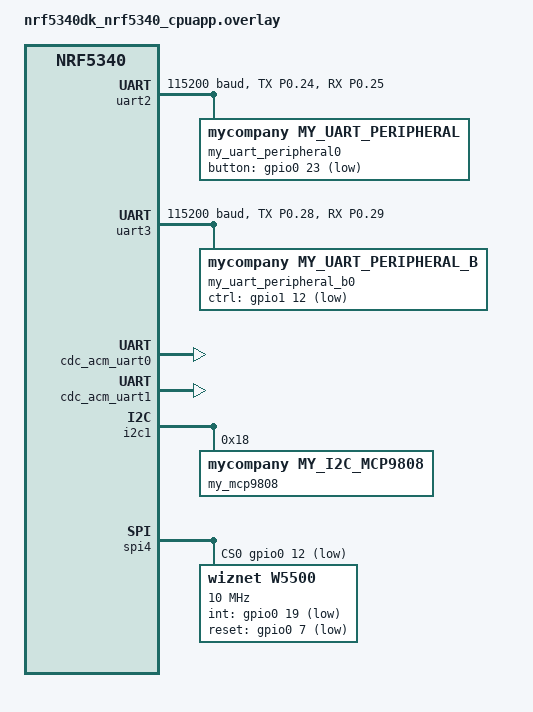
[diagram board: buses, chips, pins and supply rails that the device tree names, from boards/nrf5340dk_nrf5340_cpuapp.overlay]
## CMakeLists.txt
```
# SPDX-License-Identifier: Apache-2.0

cmake_minimum_required(VERSION 3.20.0)

find_package(Zephyr REQUIRED HINTS $ENV{ZEPHYR_BASE})
project(uart_echo_bot)

target_sources(app PRIVATE 
src/main.c
src/main_app.c
src/main_echo_bot.c
src/main_my_uart_peripheral.c
src/main_my_uart_peripheral_b.c
# src/main_cdc_acm_composite.c
src/main_cdc_acm.c
src/main_shell_module.c
src/main_mcp9808.c
src/main_dhcpv4_client.c
src/socket_dumb_http.c
src/http_get.c
)

generate_inc_file_for_target(app src/response_small.html.bin src/response_small.html.bin.inc)
generate_inc_file_for_target(app src/response_big.html.bin   src/response_big.html.bin.inc)

set(gen_dir ${ZEPHYR_BINARY_DIR}/include/generated/)
generate_inc_file_for_target(
    app
    src/globalsign_r1.der
    ${gen_dir}/globalsign_r1.der.inc
    )

add_subdirectory(drivers)
```

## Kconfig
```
menu "UART peripheral driver example"
rsource "drivers/Kconfig"
endmenu

menu "Zephyr Kernel"
source "Kconfig.zephyr"
endmenu
```

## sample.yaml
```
sample:
  name: UART driver sample
tests:
  sample.drivers.uart:
    tags: serial uart
    filter: CONFIG_SERIAL and
            CONFIG_UART_INTERRUPT_DRIVEN and
            dt_chosen_enabled("zephyr,shell-uart")
    harness: keyboard

sample:
  name: CDC ACM Composite USB
tests:
  sample.usb.cdc-acm-composite:
    depends_on: usb_device
    tags: usb
    platform_exclude: native_posix native_posix_64
    harness: console
    harness_config:
      type: one_line
      regex:
        - "Wait for DTR"
```

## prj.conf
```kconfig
## UART additional devices
CONFIG_SERIAL=y
CONFIG_UART_INTERRUPT_DRIVEN=y
CONFIG_MY_UART_PERIPHERAL=y
## UART additional devices Logging
CONFIG_LOG=y
CONFIG_MY_UART_PERIPHERAL_LOG_LEVEL_DBG=y

## UART additional devices 2
CONFIG_MY_UART_PERIPHERAL_B=y
CONFIG_MY_UART_PERIPHERAL_B_LOG_LEVEL_DBG=y

## USB for cdc_acm_composite
# CONFIG_STDOUT_CONSOLE=y
# CONFIG_UART_LINE_CTRL=y
# 
# CONFIG_USB_DEVICE_STACK=y
# CONFIG_USB_DEVICE_PRODUCT="Zephyr CDC ACM Composite sample"
# CONFIG_USB_DEVICE_PID=0x0002
# CONFIG_USB_COMPOSITE_DEVICE=y
# CONFIG_USB_CDC_ACM_RINGBUF_SIZE=512
# CONFIG_USB_DEVICE_INITIALIZE_AT_BOOT=n

# CONFIG_USB_DEVICE_LOG_LEVEL_ERR=y
# CONFIG_USB_DRIVER_LOG_LEVEL_ERR=y

# i2c sensor
CONFIG_STDOUT_CONSOLE=y
CONFIG_I2C=y
CONFIG_GPIO=y
CONFIG_SENSOR=y
CONFIG_CBPRINTF_FP_SUPPORT=y

# shell
CONFIG_PRINTK=y
CONFIG_SHELL=y
CONFIG_SHELL_MINIMAL=y
CONFIG_SHELL_STACK_SIZE=1024
CONFIG_SHELL_BACKEND_SERIAL=y

CONFIG_THREAD_MONITOR=y
CONFIG_INIT_STACKS=y
CONFIG_BOOT_BANNER=n
CONFIG_THREAD_NAME=y
CONFIG_LOG=y
CONFIG_CBPRINTF_NANO=y

# USB Shell
CONFIG_USB_DEVICE_STACK=y
CONFIG_USB_DEVICE_PRODUCT="Zephyr USB shell sample"
CONFIG_SHELL_BACKEND_SERIAL_CHECK_DTR=y
CONFIG_UART_LINE_CTRL=y
CONFIG_SHELL_BACKEND_SERIAL_INIT_PRIORITY=51
CONFIG_USB_DEVICE_INITIALIZE_AT_BOOT=n
# USB Shell added
CONFIG_SHELL_HELP=y
CONFIG_SHELL_PROMPT_UART="my:~$ "
CONFIG_SHELL_TAB=n
CONFIG_CLOCK_CONTROL_NRF_SHELL=n
CONFIG_HWINFO_SHELL=n

## USB for cdc_acm
CONFIG_STDOUT_CONSOLE=y
CONFIG_UART_LINE_CTRL=y
CONFIG_USB_DEVICE_STACK=y
# CONFIG_USB_DEVICE_PRODUCT="Zephyr CDC ACM Composite sample"
# CONFIG_USB_DEVICE_PID=0x0002
CONFIG_USB_DEVICE_INITIALIZE_AT_BOOT=n
CONFIG_USB_DEVICE_LOG_LEVEL_ERR=y

## W5500
# log
CONFIG_NET_DHCPV4_LOG_LEVEL_ERR=y
CONFIG_ETHERNET_LOG_LEVEL_ERR=y

CONFIG_SPI=y
CONFIG_NET_L2_ETHERNET=y
CONFIG_ETH_W5500=y
CONFIG_ETH_W5500_RX_THREAD_STACK_SIZE=800
CONFIG_ETH_W5500_RX_THREAD_PRIO=2
CONFIG_ETH_W5500_TIMEOUT=1000
CONFIG_NET_DHCPV4=y
CONFIG_NET_MGMT=y

## DHCP Client
CONFIG_NETWORKING=y
CONFIG_NET_IPV6=n
CONFIG_NET_IPV4=y
CONFIG_NET_ARP=y
CONFIG_NET_UDP=y
CONFIG_NET_DHCPV4=y
CONFIG_TEST_RANDOM_GENERATOR=y
CONFIG_INIT_STACKS=y
CONFIG_NET_MGMT=y
CONFIG_NET_MGMT_EVENT=y
CONFIG_NET_LOG=y
CONFIG_LOG=y
CONFIG_SLIP_STATISTICS=n
CONFIG_NET_SHELL=y


## HTTP Server
# # General config
# CONFIG_NEWLIB_LIBC=y
# 
# # Networking config
# CONFIG_NETWORKING=y
# CONFIG_NET_IPV4=y
# CONFIG_NET_IPV6=n
# CONFIG_NET_TCP=y
# CONFIG_NET_SOCKETS=y
# CONFIG_NET_SOCKETS_POSIX_NAMES=y
# 
# # Network driver config
# CONFIG_TEST_RANDOM_GENERATOR=y
# 
# # Network address config
# CONFIG_NET_CONFIG_SETTINGS=y
# CONFIG_NET_CONFIG_NEED_IPV4=y
# CONFIG_NET_CONFIG_MY_IPV4_ADDR="192.0.2.1"
# CONFIG_NET_CONFIG_PEER_IPV4_ADDR="192.0.2.2"
# 
# # Networking tweaks
# # Required to handle large number of consecutive connections,
# # e.g. when testing with ApacheBench.
# CONFIG_NET_TCP_TIME_WAIT_DELAY=0
# 
# # Network debug config
# CONFIG_NET_LOG=y
# CONFIG_NET_SHELL=y

## http get
# General config
# CONFIG_MAIN_STACK_SIZE=1536
CONFIG_NEWLIB_LIBC=y

# Networking config
CONFIG_NETWORKING=y
CONFIG_NET_IPV4=y
# CONFIG_NET_IPV6=y
CONFIG_NET_TCP=y
CONFIG_NET_SOCKETS=y
CONFIG_NET_SOCKETS_POSIX_NAMES=y

CONFIG_DNS_RESOLVER=y
# CONFIG_DNS_SERVER_IP_ADDRESSES=y
# CONFIG_DNS_SERVER1="192.0.2.2"

# Network driver config
CONFIG_TEST_RANDOM_GENERATOR=y

# Network address config
# CONFIG_NET_CONFIG_SETTINGS=y
# CONFIG_NET_CONFIG_NEED_IPV4=y
# CONFIG_NET_CONFIG_MY_IPV4_ADDR="192.0.2.1"
# CONFIG_NET_CONFIG_PEER_IPV4_ADDR="192.0.2.2"
# CONFIG_NET_CONFIG_MY_IPV4_GW="192.0.2.2"

# Network debug config
CONFIG_NET_LOG=y

# TLS configuration
CONFIG_MBEDTLS=y
CONFIG_MBEDTLS_BUILTIN=y
CONFIG_MBEDTLS_ENABLE_HEAP=y
CONFIG_MBEDTLS_HEAP_SIZE=40000
CONFIG_MBEDTLS_SSL_MAX_CONTENT_LEN=7168

CONFIG_NET_SOCKETS_SOCKOPT_TLS=y
```

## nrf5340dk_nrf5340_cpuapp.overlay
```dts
// To get started, press Ctrl+Space to bring up the completion menu and view the available nodes.

// You can also use the buttons in the sidebar to perform actions on nodes.
// Actions currently available include:

// * Enabling / disabling the node
// * Adding the bus to a bus
// * Removing the node
// * Connecting ADC channels

// For more help, browse the DeviceTree documentation at https://docs.zephyrproject.org/latest/guides/dts/index.html
// You can also visit the nRF DeviceTree extension documentation at https://nrfconnect.github.io/vscode-nrf-connect/devicetree/nrfdevicetree.html

//
// Changed default uart0 port of nRF5340-DK
//
&pinctrl {
	uart0_default: uart0_default {
		group1 {
				psels = <NRF_PSEL(UART_TX, 1, 10)>;
						// <NRF_PSEL(UART_RTS, 1, xx)>;
		};
		group2 {
				psels = <NRF_PSEL(UART_RX, 1, 11)>;
						// <NRF_PSEL(UART_CTS, 1, xx)>;
				bias-pull-up;
		};
	};
	uart0_sleep: uart0_sleep {
		group1 {
				psels = <NRF_PSEL(UART_TX, 1, 10)>,
						<NRF_PSEL(UART_RX, 1, 11)>;
						// <NRF_PSEL(UART_RTS, 1, xx)>,
						// <NRF_PSEL(UART_CTS, 1, xx)>;
				low-power-enable;
		};
	};
};

//
// Added for UART additional devices
//
&pinctrl {
	uart2_default: uart2_default {
		group1 {
			psels = <NRF_PSEL(UART_TX, 0, 24)>;
		};
		group2 {
			psels = <NRF_PSEL(UART_RX, 0, 25)>;
			bias-pull-up;
		};
	};
	uart2_sleep: uart2_sleep {
		group1 {
			psels = <NRF_PSEL(UART_TX, 0, 24)>,
				<NRF_PSEL(UART_RX, 0, 25)>;
			low-power-enable;
		};
	};

	uart3_default: uart3_default {
		group1 {
			psels = <NRF_PSEL(UART_TX, 0, 28)>;
		};
		group2 {
			psels = <NRF_PSEL(UART_RX, 0, 29)>;
			bias-pull-up;
		};
	};
	uart3_sleep: uart3_sleep {
		group1 {
			psels = <NRF_PSEL(UART_TX, 0, 28)>,
				<NRF_PSEL(UART_RX, 0, 29)>;
			low-power-enable;
		};
	};
};

&uart2 {
	status = "okay";
	current-speed = <115200>;
	pinctrl-0 = <&uart2_default>;
	pinctrl-1 = <&uart2_sleep>;
	pinctrl-names = "default", "sleep";
	my_device: my_uart_peripheral0 {
		compatible = "mycompany,my_uart_peripheral";
		status="okay";
		label = "my_uart_peripheral0";
		button-gpios = <&gpio0 23 (GPIO_ACTIVE_LOW | GPIO_PULL_UP)>; // Button 1 on dk
		initial-string = "Hello, World!";
	};
};
&uart3 {
	status = "okay";
	current-speed = <115200>;
	pinctrl-0 = <&uart3_default>;
	pinctrl-1 = <&uart3_sleep>;
	pinctrl-names = "default", "sleep";
	my_device_b: my_uart_peripheral_b0 {
		compatible = "mycompany,my_uart_peripheral_b";
		status="okay";
		label = "my_uart_peripheral_b0";
		ctrl-gpios = <&gpio1 12 GPIO_ACTIVE_LOW>; // gpio output
	};
};

//
// USB Device for cdc_acm_composite
//
//&zephyr_udc0 {
//	cdc_acm_uart0 {
//		compatible = "zephyr,cdc-acm-uart";
//	};
//
//	cdc_acm_uart1 {
//		compatible = "zephyr,cdc-acm-uart";
//	};
//};

//
// USB Shell
//
/ {
	chosen {
		zephyr,shell-uart = &cdc_acm_uart0;
		zephyr,console = &cdc_acm_uart0;
	};
};
&zephyr_udc0 {
	cdc_acm_uart0: cdc_acm_uart0 {
		compatible = "zephyr,cdc-acm-uart";
	};
};

//
// USB Device for cdc_acm
//
&zephyr_udc0 {
	cdc_acm_uart1: cdc_acm_uart1 {
		compatible = "zephyr,cdc-acm-uart";
	};
};

//
// Changed default i2c1 port of nRF5340-DK
//
&pinctrl {
	i2c1_default: i2c1_default {
		group1 {
				psels = <NRF_PSEL(TWIM_SDA, 1, 3)>,
						<NRF_PSEL(TWIM_SCL, 1, 2)>;
		};
	};

	i2c1_sleep: i2c1_sleep {
		group1 {
				psels = <NRF_PSEL(TWIM_SDA, 1, 3)>,
						<NRF_PSEL(TWIM_SCL, 1, 2)>;
				low-power-enable;
		};
	};
};

//
// Added for i2c sensor
//
&i2c1 {
    status = "okay";
	my_mcp9808: my_i2c_mcp9808@18 {
		compatible = "mycompany,my_i2c_mcp9808";
        status = "okay";
		reg = <0x18>;
		resolution = <3>;
	};
};
```

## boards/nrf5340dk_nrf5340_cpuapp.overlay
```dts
// To get started, press Ctrl+Space to bring up the completion menu and view the available nodes.

// You can also use the buttons in the sidebar to perform actions on nodes.
// Actions currently available include:

// * Enabling / disabling the node
// * Adding the bus to a bus
// * Removing the node
// * Connecting ADC channels

// For more help, browse the DeviceTree documentation at https://docs.zephyrproject.org/latest/guides/dts/index.html
// You can also visit the nRF DeviceTree extension documentation at https://nrfconnect.github.io/vscode-nrf-connect/devicetree/nrfdevicetree.html

//
// Changed default uart0 port of nRF5340-DK
//
&pinctrl {
	uart0_default: uart0_default {
		group1 {
				psels = <NRF_PSEL(UART_TX, 1, 10)>;
						// <NRF_PSEL(UART_RTS, 1, xx)>;
		};
		group2 {
				psels = <NRF_PSEL(UART_RX, 1, 11)>;
						// <NRF_PSEL(UART_CTS, 1, xx)>;
				bias-pull-up;
		};
	};
	uart0_sleep: uart0_sleep {
		group1 {
				psels = <NRF_PSEL(UART_TX, 1, 10)>,
						<NRF_PSEL(UART_RX, 1, 11)>;
						// <NRF_PSEL(UART_RTS, 1, xx)>,
						// <NRF_PSEL(UART_CTS, 1, xx)>;
				low-power-enable;
		};
	};
};

//
// Added for UART additional devices
//
&pinctrl {
	uart2_default: uart2_default {
		group1 {
			psels = <NRF_PSEL(UART_TX, 0, 24)>;
		};
		group2 {
			psels = <NRF_PSEL(UART_RX, 0, 25)>;
			bias-pull-up;
		};
	};
	uart2_sleep: uart2_sleep {
		group1 {
			psels = <NRF_PSEL(UART_TX, 0, 24)>,
				<NRF_PSEL(UART_RX, 0, 25)>;
			low-power-enable;
		};
	};

	uart3_default: uart3_default {
		group1 {
			psels = <NRF_PSEL(UART_TX, 0, 28)>;
		};
		group2 {
			psels = <NRF_PSEL(UART_RX, 0, 29)>;
			bias-pull-up;
		};
	};
	uart3_sleep: uart3_sleep {
		group1 {
			psels = <NRF_PSEL(UART_TX, 0, 28)>,
				<NRF_PSEL(UART_RX, 0, 29)>;
			low-power-enable;
		};
	};
};

&uart2 {
	status = "okay";
	current-speed = <115200>;
	pinctrl-0 = <&uart2_default>;
	pinctrl-1 = <&uart2_sleep>;
	pinctrl-names = "default", "sleep";
	my_device: my_uart_peripheral0 {
		compatible = "mycompany,my_uart_peripheral";
		status="okay";
		label = "my_uart_peripheral0";
		button-gpios = <&gpio0 23 (GPIO_ACTIVE_LOW | GPIO_PULL_UP)>; // Button 1 on dk
		initial-string = "Hello, World!";
	};
};
&uart3 {
	status = "okay";
	current-speed = <115200>;
	pinctrl-0 = <&uart3_default>;
	pinctrl-1 = <&uart3_sleep>;
	pinctrl-names = "default", "sleep";
	my_device_b: my_uart_peripheral_b0 {
		compatible = "mycompany,my_uart_peripheral_b";
		status="okay";
		label = "my_uart_peripheral_b0";
		ctrl-gpios = <&gpio1 12 GPIO_ACTIVE_LOW>; // gpio output
	};
};

//
// USB Device for cdc_acm_composite
//
//&zephyr_udc0 {
//	cdc_acm_uart0 {
//		compatible = "zephyr,cdc-acm-uart";
//	};
//
//	cdc_acm_uart1 {
//		compatible = "zephyr,cdc-acm-uart";
//	};
//};

//
// USB Shell
//
/ {
	chosen {
		zephyr,shell-uart = &cdc_acm_uart0;
		zephyr,console = &cdc_acm_uart0;
	};
};
&zephyr_udc0 {
	cdc_acm_uart0: cdc_acm_uart0 {
		compatible = "zephyr,cdc-acm-uart";
	};
};

//
// USB Device for cdc_acm
//
&zephyr_udc0 {
	cdc_acm_uart1: cdc_acm_uart1 {
		compatible = "zephyr,cdc-acm-uart";
	};
};

//
// Changed default i2c1 port of nRF5340-DK
//
&pinctrl {
	i2c1_default: i2c1_default {
		group1 {
				psels = <NRF_PSEL(TWIM_SDA, 1, 3)>,
						<NRF_PSEL(TWIM_SCL, 1, 2)>;
		};
	};

	i2c1_sleep: i2c1_sleep {
		group1 {
				psels = <NRF_PSEL(TWIM_SDA, 1, 3)>,
						<NRF_PSEL(TWIM_SCL, 1, 2)>;
				low-power-enable;
		};
	};
};

//
// Added for i2c sensor
//
&i2c1 {
    status = "okay";
	my_mcp9808: my_i2c_mcp9808@18 {
		compatible = "mycompany,my_i2c_mcp9808";
        status = "okay";
		reg = <0x18>;
		resolution = <3>;
	};
};

// 
// W5500
// 

&pinctrl {
	spi4_default: spi4_default {
		group1 {
				psels = <NRF_PSEL(SPIM_SCK, 0, 8)>,
						<NRF_PSEL(SPIM_MISO, 0, 10)>,
						<NRF_PSEL(SPIM_MOSI, 0, 9)>;
		};
	
	};
	spi4_sleep: spi4_sleep {
		group1 {
				psels = <NRF_PSEL(SPIM_SCK, 0, 8)>,
						<NRF_PSEL(SPIM_MISO, 0, 10)>,
						<NRF_PSEL(SPIM_MOSI, 0, 9)>;
				low-power-enable;
		};
	
	};
};
&spi4 {
	cs-gpios = <&gpio0 12 GPIO_ACTIVE_LOW>;
	test_spi_w5500: w5500@0 {
		compatible = "wiznet,w5500";
		label = "w5500";
		reg = <0x0>;
		spi-max-frequency = <10000000>;
		int-gpios = <&gpio0 19 GPIO_ACTIVE_LOW>; // p0.15 is used for qspi
		reset-gpios = <&gpio0 7 GPIO_ACTIVE_LOW>;
	};
};
```

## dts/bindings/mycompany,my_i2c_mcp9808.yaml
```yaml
# Copyright (c) 2019, Linaro Limited
# SPDX-License-Identifier: Apache-2.0

description: |
    Microchip MCP9808 Digital Temperature Sensor. See
    http://ww1.microchip.com/downloads/en/DeviceDoc/25095A.pdf.

compatible: "mycompany,my_i2c_mcp9808"

include: [sensor-device.yaml, i2c-device.yaml]

properties:
    int-gpios:
      type: phandle-array
      description: |
        The alert pin defaults to active low when produced by the
        sensor, and is open-drain.  A pull-up may be appropriate.  The
        property value should ensure the flags properly describe the
        signal that is presented to the driver.

    resolution:
      type: int
      default: 3
      description: |
        Sensor resolution. Default is 0.0625C (0b11),
        which is the power-up default.
      enum:
        - 0 # 0.5C
        - 1 # 0.25C
        - 2 # 0.125C
        - 3 # 0.0625C
```

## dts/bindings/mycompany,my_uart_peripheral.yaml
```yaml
description: |
  UART peripheral example. Transmits data over uart on button press
  and accumulates recieved data as strings.

compatible: "mycompany,my_uart_peripheral"

include: uart-device.yaml

properties:
  button-gpios:
    required: true
    type: phandle-array
    description: |
      GPIO pin used to trigger data transmission.
  initial-string:
    required: false
    type: string
    description: |
      Initial string to be sent over uart. Can be changed during run-time.
```

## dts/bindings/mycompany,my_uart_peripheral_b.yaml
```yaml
description: |
  UART peripheral example. Transmits data over uart on button press
  and accumulates recieved data as strings.

compatible: "mycompany,my_uart_peripheral_b"

include: uart-device.yaml

properties:
  ctrl-gpios:
    required: true
    type: phandle-array
    description: |
      GPIO pin used to trigger data transmission.
```

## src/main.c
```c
#include <zephyr/kernel.h>

/* Workqueue */
#define MY_STACK_SIZE 512
#define MY_PRIORITY 5
K_THREAD_STACK_DEFINE(my_stack_area, MY_STACK_SIZE);
struct k_work_q my_work_q;
struct k_work my_work_item[3];

static void work_handler(struct k_work *work)
{
		printk("work_handler");
		k_sleep(K_MSEC(4000));
}

extern void main_echo_bot(void);
extern void main_my_uart_peripheral(void);
extern void main_my_uart_peripheral_b(void);
extern void main_cdc_acm_composite(void);
extern void main_cdc_acm(void);
extern void main_shell_module(void);
extern void main_mcp9808(void);
extern void main_app(void);
extern void main_dhcpv4_client(void);
extern void main_socket_dumb_http(void);
extern void main_http_get(void);

void main(void)
{
	// main_echo_bot();
	// main_cdc_acm_composite();
	main_cdc_acm();
	main_shell_module();
	main_my_uart_peripheral();
	main_my_uart_peripheral_b();
	main_mcp9808();
	main_app();
	main_dhcpv4_client();
	//main_socket_dumb_http();
	main_http_get();

	k_work_queue_init(&my_work_q);
	k_work_queue_start(&my_work_q, my_stack_area,
		K_THREAD_STACK_SIZEOF(my_stack_area), MY_PRIORITY,
		NULL);
	k_work_init(&(my_work_item[0]), work_handler);
	k_work_init(&(my_work_item[1]), work_handler);
	k_work_init(&(my_work_item[2]), work_handler);
	k_work_submit_to_queue(&my_work_q, &(my_work_item[0]));
	k_work_submit_to_queue(&my_work_q, &(my_work_item[1]));
	k_work_submit_to_queue(&my_work_q, &(my_work_item[2]));
}
```

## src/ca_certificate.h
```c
/*
 * Copyright (c) 2018 Nordic Semiconductor ASA
 *
 * SPDX-License-Identifier: Apache-2.0
 */

#ifndef __CA_CERTIFICATE_H__
#define __CA_CERTIFICATE_H__

#define CA_CERTIFICATE_TAG 1

/* By default only certificates in DER format are supported. If you want to use
 * certificate in PEM format, you can enable support for it in Kconfig.
 */

/* GlobalSign Root CA - R1 for https://google.com */
#if defined(CONFIG_TLS_CREDENTIAL_FILENAMES)
static const unsigned char ca_certificate[] = "globalsign_r1.der";
#else
static const unsigned char ca_certificate[] = {
#include "globalsign_r1.der.inc"
};
#endif

#endif /* __CA_CERTIFICATE_H__ */
```

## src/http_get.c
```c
/*
 * Copyright (c) 2017 Linaro Limited
 *
 * SPDX-License-Identifier: Apache-2.0
 */

#include <stdio.h>
#include <stdlib.h>

#if !defined(__ZEPHYR__) || defined(CONFIG_POSIX_API)

#include <netinet/in.h>
#include <sys/socket.h>
#include <arpa/inet.h>
#include <unistd.h>
#include <netdb.h>

#else

#include <zephyr/net/socket.h>
#include <zephyr/kernel.h>

#if defined(CONFIG_NET_SOCKETS_SOCKOPT_TLS)
#include <zephyr/net/tls_credentials.h>
#include "ca_certificate.h"
#endif

#endif

/* HTTP server to connect to */
#define HTTP_HOST "google.com"
/* Port to connect to, as string */
#if defined(CONFIG_NET_SOCKETS_SOCKOPT_TLS)
#define HTTP_PORT "443"
#else
#define HTTP_PORT "80"
#endif
/* HTTP path to request */
#define HTTP_PATH "/"


#define SSTRLEN(s) (sizeof(s) - 1)
#define CHECK(r) { if (r == -1) { printf("Error: " #r "\n"); exit(1); } }

#define REQUEST "GET " HTTP_PATH " HTTP/1.0\r\nHost: " HTTP_HOST "\r\n\r\n"

static char response[1024];

void dump_addrinfo(const struct addrinfo *ai)
{
	printf("addrinfo @%p: ai_family=%d, ai_socktype=%d, ai_protocol=%d, "
	       "sa_family=%d, sin_port=%x\n",
	       ai, ai->ai_family, ai->ai_socktype, ai->ai_protocol,
	       ai->ai_addr->sa_family,
	       ((struct sockaddr_in *)ai->ai_addr)->sin_port);
}

#define STACKSIZE             (4096)
#define PRIORITY             (7)
K_THREAD_STACK_DEFINE(thread_http_get_stack_area, STACKSIZE);
static struct k_thread thread_http_get_data;
void thread_http_get(void *dummy1, void *dummy2, void *dummy3)
{
	/* wait DHCP v4*/
	k_sleep(K_SECONDS(10));

	static struct addrinfo hints;
	struct addrinfo *res;
	int st, sock;

#if defined(CONFIG_NET_SOCKETS_SOCKOPT_TLS)
	tls_credential_add(CA_CERTIFICATE_TAG, TLS_CREDENTIAL_CA_CERTIFICATE,
			   ca_certificate, sizeof(ca_certificate));
#endif

	printf("Preparing HTTP GET request for http://" HTTP_HOST
	       ":" HTTP_PORT HTTP_PATH "\n");

	hints.ai_family = AF_INET;
	hints.ai_socktype = SOCK_STREAM;
	st = getaddrinfo(HTTP_HOST, HTTP_PORT, &hints, &res);
	printf("getaddrinfo status: %d\n", st);

	if (st != 0) {
		printf("Unable to resolve address, quitting\n");
		return;
	}

#if 0
	for (; res; res = res->ai_next) {
		dump_addrinfo(res);
	}
#endif

	dump_addrinfo(res);

#if defined(CONFIG_NET_SOCKETS_SOCKOPT_TLS)
	sock = socket(res->ai_family, res->ai_socktype, IPPROTO_TLS_1_2);
#else
	sock = socket(res->ai_family, res->ai_socktype, res->ai_protocol);
#endif
	CHECK(sock);
	printf("sock = %d\n", sock);

#if defined(CONFIG_NET_SOCKETS_SOCKOPT_TLS)
	sec_tag_t sec_tag_opt[] = {
		CA_CERTIFICATE_TAG,
	};
	CHECK(setsockopt(sock, SOL_TLS, TLS_SEC_TAG_LIST,
			 sec_tag_opt, sizeof(sec_tag_opt)));

	CHECK(setsockopt(sock, SOL_TLS, TLS_HOSTNAME,
			 HTTP_HOST, sizeof(HTTP_HOST)))
#endif

	CHECK(connect(sock, res->ai_addr, res->ai_addrlen));
	CHECK(send(sock, REQUEST, SSTRLEN(REQUEST), 0));

	printf("Response:\n\n");

	while (1) {
		int len = recv(sock, response, sizeof(response) - 1, 0);

		if (len < 0) {
			printf("Error reading response\n");
			return;
		}

		if (len == 0) {
			break;
		}

		response[len] = 0;
		printf("%s", response);
	}

	printf("\n");

	(void)close(sock);
}
void main_http_get(void)
{
    k_thread_create(&thread_http_get_data, thread_http_get_stack_area,
            K_THREAD_STACK_SIZEOF(thread_http_get_stack_area),
            thread_http_get, NULL, NULL, NULL,
            PRIORITY, 0, K_FOREVER);
	k_thread_start(&thread_http_get_data);
}
```

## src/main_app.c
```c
#include <zephyr/kernel.h>
#include <string.h>

#define MSG_BODY_SIZE 64
struct data_item_with_size_and_type {
    size_t size;
    uint16_t type;
    uint8_t data[MSG_BODY_SIZE];
};
BUILD_ASSERT(sizeof(struct data_item_with_size_and_type) % 4 == 0);

/* queue to store up to 10 messages (aligned to 4-byte boundary) */
K_MSGQ_DEFINE(app_msgq, sizeof(struct data_item_with_size_and_type), 10, 4);

void send_app(uint8_t *data, size_t size, uint16_t type)
{
	struct data_item_with_size_and_type tx_buf = {0};
    if (size > sizeof(tx_buf.data)){
        printk("send_app, size over, drop");
        return;
    }
    tx_buf.size = size;
    tx_buf.type = type;
    memcpy(tx_buf.data, data, size);
    /* if queue is full, message is silently dropped */
    k_msgq_put(&app_msgq, &tx_buf, K_NO_WAIT);
}

void recv_app(uint8_t *data, size_t size, uint16_t type)
{
    printk("recv_app, size %d, type %d\n", size, type);
    printk("recv_app, data = %s\n", data);
}

#define STACKSIZE             (1024)
#define PRIORITY             (7)
K_THREAD_STACK_DEFINE(thread_app_stack_area, STACKSIZE);
static struct k_thread thread_app_data;
void thread_app(void *dummy1, void *dummy2, void *dummy3)
{
	struct data_item_with_size_and_type rx_buf;

	/* indefinitely wait for input from the user */
	while (k_msgq_get(&app_msgq, &rx_buf, K_FOREVER) == 0) {
        size_t size = rx_buf.size;
        uint16_t type = rx_buf.type;
        recv_app(rx_buf.data, size, type);
	}
}

void main_app(void)
{
    k_thread_create(&thread_app_data, thread_app_stack_area,
            K_THREAD_STACK_SIZEOF(thread_app_stack_area),
            thread_app, NULL, NULL, NULL,
            PRIORITY, 0, K_FOREVER);
	k_thread_start(&thread_app_data);
}
```

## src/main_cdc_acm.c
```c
/*
 * Copyright (c) 2016 Intel Corporation
 *
 * SPDX-License-Identifier: Apache-2.0
 */

/**
 * @file
 * @brief Sample app for CDC ACM class driver
 *
 * Sample app for USB CDC ACM class driver. The received data is echoed back
 * to the serial port.
 */

#include <stdio.h>
#include <string.h>
#include <zephyr/device.h>
#include <zephyr/drivers/uart.h>
#include <zephyr/sys/ring_buffer.h>
#include <zephyr/kernel.h>

#include <zephyr/usb/usb_device.h>
#include <zephyr/logging/log.h>
LOG_MODULE_REGISTER(cdc_acm, LOG_LEVEL_DBG);

static const struct device *const dev = DEVICE_DT_GET(DT_NODELABEL(cdc_acm_uart1));

#define RING_BUF_SIZE	(256)
struct send_buf {
    struct ring_buf rb;
    uint8_t buffer[RING_BUF_SIZE];
};
static struct send_buf sb;

void send_cdc_acm(const char *data, size_t length)
{
	size_t wrote;
	wrote = ring_buf_put(&(sb.rb), data, length);
	if (wrote < length) {
		LOG_ERR("Drop %zu bytes of %zu bytes", length - wrote, length);
	}
	if (wrote) {
		uart_irq_tx_enable(dev);
	}
}

static void interrupt_handler(const struct device *dev, void *user_data)
{
	while (uart_irq_update(dev) && uart_irq_is_pending(dev)) {
		while (uart_irq_rx_ready(dev))
		{
	        char c;
			uart_fifo_read(dev, &c, 1);

			send_cdc_acm(&c, 1);
		}
		if (uart_irq_tx_ready(dev)) {
			uint8_t buf[16];
			size_t wrote, len;
			len = ring_buf_get(&(sb.rb), buf, sizeof(buf));
			if (!len) {
				LOG_DBG("dev %p TX buffer empty", dev);
				uart_irq_tx_disable(dev);
			} else {
				wrote = uart_fifo_fill(dev, buf, len);
				LOG_DBG("dev %p wrote len %zu (get len %zu))", dev, wrote, len);
			}
		}
	} // while
}

static void uart_line_set(const struct device *dev)
{
	int ret;

	/* They are optional, we use them to test the interrupt endpoint */
	ret = uart_line_ctrl_set(dev, UART_LINE_CTRL_DCD, 1);
	if (ret) {
		LOG_DBG("Failed to set DCD, ret code %d", ret);
	}

	ret = uart_line_ctrl_set(dev, UART_LINE_CTRL_DSR, 1);
	if (ret) {
		LOG_DBG("Failed to set DSR, ret code %d", ret);
	}
}

// Wait for DTR
static struct k_work my_work;
static struct k_timer my_timer;
static void my_work_handler(struct k_work *work)
{
	uint32_t dtr = 0U;
	uart_line_ctrl_get(dev, UART_LINE_CTRL_DTR, &dtr);
	if (!dtr) {
		k_timer_start(&my_timer, K_MSEC(100), K_NO_WAIT);
		return;
	}

	LOG_INF("DTR set");

	uart_line_set(dev);

	uart_irq_callback_user_data_set(dev, interrupt_handler, NULL);

	/* Enable rx interrupts */
	uart_irq_rx_enable(dev);

	LOG_INF("CDC ACM device ready to use");
}
static void my_timer_handler(struct k_timer *dummy)
{
    k_work_submit(&my_work);
}

void main_cdc_acm(void)
{
	int ret;

	if (!device_is_ready(dev)) {
		LOG_ERR("CDC ACM device not ready");
		return;
	}

	ret = usb_enable(NULL);
	if (ret != 0) {
		LOG_ERR("Failed to enable USB");
		return;
	}

	ring_buf_init(&(sb.rb), RING_BUF_SIZE, sb.buffer);

	LOG_INF("Wait for DTR");

	{
		k_timer_init(&my_timer, my_timer_handler, NULL);
		k_work_init(&my_work, my_work_handler);
		/* start one shot timer that expires after 100 ms */
		k_timer_start(&my_timer, K_MSEC(100), K_NO_WAIT);
	}
}
```

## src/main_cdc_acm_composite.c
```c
/*
 * Copyright (c) 2016 Intel Corporation
 *
 * SPDX-License-Identifier: Apache-2.0
 */

/**
 * @file
 * @brief Sample app for CDC ACM class driver
 *
 * Sample app for USB CDC ACM class driver. The received data is echoed back
 * to the serial port.
 */

#include <stdio.h>
#include <string.h>
#include <zephyr/device.h>
#include <zephyr/drivers/uart.h>
#include <zephyr/kernel.h>
#include <zephyr/sys/ring_buffer.h>

#include <zephyr/usb/usb_device.h>
#include <zephyr/logging/log.h>
LOG_MODULE_REGISTER(cdc_acm_composite, LOG_LEVEL_INF);

#define RING_BUF_SIZE	(64 * 2)

uint8_t buffer0[RING_BUF_SIZE];
uint8_t buffer1[RING_BUF_SIZE];

struct serial_peer {
	const struct device *dev;
	struct serial_peer *data;
	struct ring_buf rb;
};

#define DEFINE_SERIAL_PEER(node_id) { .dev = DEVICE_DT_GET(node_id), },
static struct serial_peer peers[] = {
	DT_FOREACH_STATUS_OKAY(zephyr_cdc_acm_uart, DEFINE_SERIAL_PEER)
};

BUILD_ASSERT(ARRAY_SIZE(peers) >= 2, "Not enough CDC ACM instances");

static void interrupt_handler(const struct device *dev, void *user_data)
{
	struct serial_peer *peer = user_data;

	while (uart_irq_update(dev) && uart_irq_is_pending(dev)) {
		LOG_DBG("dev %p peer %p", dev, peer);

		if (uart_irq_rx_ready(dev)) {
			uint8_t buf[64];
			int read;
			size_t wrote;
			struct ring_buf *rb = &peer->data->rb;

			read = uart_fifo_read(dev, buf, sizeof(buf));
			if (read < 0) {
				LOG_ERR("Failed to read UART FIFO");
				read = 0;
			};

			wrote = ring_buf_put(rb, buf, read);
			if (wrote < read) {
				LOG_ERR("Drop %zu bytes", read - wrote);
			}

			LOG_DBG("dev %p -> dev %p send %zu bytes",
				dev, peer->dev, wrote);
			if (wrote) {
				uart_irq_tx_enable(peer->dev);
			}
		}

		if (uart_irq_tx_ready(dev)) {
			uint8_t buf[64];
			size_t wrote, len;

			len = ring_buf_get(&peer->rb, buf, sizeof(buf));
			if (!len) {
				LOG_DBG("dev %p TX buffer empty", dev);
				uart_irq_tx_disable(dev);
			} else {
				wrote = uart_fifo_fill(dev, buf, len);
				LOG_DBG("dev %p wrote len %zu", dev, wrote);
			}
		}
	}
}

static void uart_line_set(const struct device *dev)
{
	uint32_t baudrate;
	int ret;

	/* They are optional, we use them to test the interrupt endpoint */
	ret = uart_line_ctrl_set(dev, UART_LINE_CTRL_DCD, 1);
	if (ret) {
		LOG_DBG("Failed to set DCD, ret code %d", ret);
	}

	ret = uart_line_ctrl_set(dev, UART_LINE_CTRL_DSR, 1);
	if (ret) {
		LOG_DBG("Failed to set DSR, ret code %d", ret);
	}

	/* Wait 1 sec for the host to do all settings */
	k_busy_wait(1000000);

	ret = uart_line_ctrl_get(dev, UART_LINE_CTRL_BAUD_RATE, &baudrate);
	if (ret) {
		LOG_DBG("Failed to get baudrate, ret code %d", ret);
	} else {
		LOG_DBG("Baudrate detected: %d", baudrate);
	}
}

#define STACKSIZE             (1024)
#define PRIORITY             (7)
K_THREAD_STACK_DEFINE(threadA_stack_area, STACKSIZE);
static struct k_thread threadA_data;
void threadA(void *dummy1, void *dummy2, void *dummy3)
{
	uint32_t dtr = 0U;
	int ret;

	for (int idx = 0; idx < ARRAY_SIZE(peers); idx++) {
		if (!device_is_ready(peers[idx].dev)) {
			LOG_ERR("CDC ACM device %s is not ready",
				peers[idx].dev->name);
			return;
		}
	}

	ret = usb_enable(NULL);
	if (ret != 0) {
		LOG_ERR("Failed to enable USB");
		return;
	}

	LOG_INF("Wait for DTR");

	while (1) {
		uart_line_ctrl_get(peers[0].dev, UART_LINE_CTRL_DTR, &dtr);
		if (dtr) {
			break;
		}

		k_sleep(K_MSEC(100));
	}

	while (1) {
		uart_line_ctrl_get(peers[1].dev, UART_LINE_CTRL_DTR, &dtr);
		if (dtr) {
			break;
		}

		k_sleep(K_MSEC(100));
	}

	LOG_INF("DTR set, start test");

	uart_line_set(peers[0].dev);
	uart_line_set(peers[1].dev);

	peers[0].data = &peers[1];
	peers[1].data = &peers[0];

	ring_buf_init(&peers[0].rb, sizeof(buffer0), buffer0);
	ring_buf_init(&peers[1].rb, sizeof(buffer1), buffer1);

	uart_irq_callback_user_data_set(peers[1].dev, interrupt_handler, &peers[0]);
	uart_irq_callback_user_data_set(peers[0].dev, interrupt_handler, &peers[1]);

	/* Enable rx interrupts */
	uart_irq_rx_enable(peers[0].dev);
	uart_irq_rx_enable(peers[1].dev);
}

void main_cdc_acm_composite(void)
{
    k_thread_create(&threadA_data, threadA_stack_area,
            K_THREAD_STACK_SIZEOF(threadA_stack_area),
            threadA, NULL, NULL, NULL,
            PRIORITY, 0, K_FOREVER);
	k_thread_start(&threadA_data);
}
```

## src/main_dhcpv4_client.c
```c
/* Networking DHCPv4 client */

/*
 * Copyright (c) 2017 ARM Ltd.
 * Copyright (c) 2016 Intel Corporation.
 *
 * SPDX-License-Identifier: Apache-2.0
 */

#include <zephyr/logging/log.h>
LOG_MODULE_REGISTER(net_dhcpv4_client_sample, LOG_LEVEL_DBG);

#include <zephyr/kernel.h>
#include <zephyr/linker/sections.h>
#include <errno.h>
#include <stdio.h>

#include <zephyr/net/net_if.h>
#include <zephyr/net/net_core.h>
#include <zephyr/net/net_context.h>
#include <zephyr/net/net_mgmt.h>

static struct net_mgmt_event_callback mgmt_cb;

static void handler(struct net_mgmt_event_callback *cb,
		    uint32_t mgmt_event,
		    struct net_if *iface)
{
	int i = 0;

	if (mgmt_event != NET_EVENT_IPV4_ADDR_ADD) {
		return;
	}

	for (i = 0; i < NET_IF_MAX_IPV4_ADDR; i++) {
		char buf[NET_IPV4_ADDR_LEN];

		if (iface->config.ip.ipv4->unicast[i].addr_type !=
							NET_ADDR_DHCP) {
			continue;
		}

		LOG_INF("Your address: %s",
			net_addr_ntop(AF_INET,
			    &iface->config.ip.ipv4->unicast[i].address.in_addr,
						  buf, sizeof(buf)));
		LOG_INF("Lease time: %u seconds",
			 iface->config.dhcpv4.lease_time);
		LOG_INF("Subnet: %s",
			net_addr_ntop(AF_INET,
				       &iface->config.ip.ipv4->netmask,
				       buf, sizeof(buf)));
		LOG_INF("Router: %s",
			net_addr_ntop(AF_INET,
						 &iface->config.ip.ipv4->gw,
						 buf, sizeof(buf)));
	}
}

void main_dhcpv4_client(void)
{
	struct net_if *iface;

	LOG_INF("Run dhcpv4 client");

	net_mgmt_init_event_callback(&mgmt_cb, handler,
				     NET_EVENT_IPV4_ADDR_ADD);
	net_mgmt_add_event_callback(&mgmt_cb);

	iface = net_if_get_default();

	net_dhcpv4_start(iface);

	/* notice for test environment */
	/* DHCP server MUST return Option: (3) Router*/
	/* Net interface doesn't seem to be automatically configured from other information */
}
```

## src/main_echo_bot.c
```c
/*
 * Copyright (c) 2022 Libre Solar Technologies GmbH
 *
 * SPDX-License-Identifier: Apache-2.0
 */

#include <zephyr/kernel.h>
#include <zephyr/device.h>
#include <zephyr/drivers/uart.h>

#include <string.h>

/* change this to any other UART peripheral if desired */
#define UART_DEVICE_NODE DT_CHOSEN(zephyr_shell_uart)

#define MSG_SIZE 32

/* queue to store up to 10 messages (aligned to 4-byte boundary) */
K_MSGQ_DEFINE(uart_msgq, MSG_SIZE, 10, 4);

static const struct device *const uart_dev = DEVICE_DT_GET(UART_DEVICE_NODE);

/* receive buffer used in UART ISR callback */
static char rx_buf[MSG_SIZE];
static int rx_buf_pos;

/*
 * Read characters from UART until line end is detected. Afterwards push the
 * data to the message queue.
 */
void serial_cb(const struct device *dev, void *user_data)
{
	uint8_t c;

	if (!uart_irq_update(uart_dev)) {
		return;
	}

	while (uart_irq_rx_ready(uart_dev)) {

		uart_fifo_read(uart_dev, &c, 1);

		if ((c == '\n' || c == '\r') && rx_buf_pos > 0) {
			/* terminate string */
			rx_buf[rx_buf_pos] = '\0';

			/* if queue is full, message is silently dropped */
			k_msgq_put(&uart_msgq, &rx_buf, K_NO_WAIT);

			/* reset the buffer (it was copied to the msgq) */
			rx_buf_pos = 0;
		} else if (rx_buf_pos < (sizeof(rx_buf) - 1)) {
			rx_buf[rx_buf_pos++] = c;
		}
		/* else: characters beyond buffer size are dropped */
	}
}

/*
 * Print a null-terminated string character by character to the UART interface
 */
void print_uart(char *buf)
{
	int msg_len = strlen(buf);

	for (int i = 0; i < msg_len; i++) {
		uart_poll_out(uart_dev, buf[i]);
	}
}

#define STACKSIZE             (1024)
#define PRIORITY             (7)
K_THREAD_STACK_DEFINE(thread_echo_bot_stack_area, STACKSIZE);
static struct k_thread thread_echo_bot_data;
void thread_echo_bot(void *dummy1, void *dummy2, void *dummy3)
{
	char tx_buf[MSG_SIZE];

	if (!device_is_ready(uart_dev)) {
		printk("UART device not found!");
		return;
	}

	/* configure interrupt and callback to receive data */
	uart_irq_callback_user_data_set(uart_dev, serial_cb, NULL);
	uart_irq_rx_enable(uart_dev);

	print_uart("Hello! I'm your echo bot.\r\n");
	print_uart("Tell me something and press enter:\r\n");

	/* indefinitely wait for input from the user */
	while (k_msgq_get(&uart_msgq, &tx_buf, K_FOREVER) == 0) {
		print_uart("Echo_xxx: ");
		print_uart(tx_buf);
		print_uart("\r\n");
	}
}

void main_echo_bot(void)
{
    k_thread_create(&thread_echo_bot_data, thread_echo_bot_stack_area,
            K_THREAD_STACK_SIZEOF(thread_echo_bot_stack_area),
            thread_echo_bot, NULL, NULL, NULL,
            PRIORITY, 0, K_FOREVER);
	k_thread_start(&thread_echo_bot_data);
}
```

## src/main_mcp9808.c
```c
/*
 * Copyright (c) 2019 Peter Bigot Consulting, LLC
 * Copyright (c) 2016 Intel Corporation.
 *
 * SPDX-License-Identifier: Apache-2.0
 */

#include <zephyr/kernel.h>
#include <zephyr/device.h>
#include <zephyr/devicetree.h>
#include <zephyr/drivers/sensor.h>
#include <stdio.h>

#define UCEL_PER_CEL 1000000
#define UCEL_PER_MCEL 1000
#define TEMP_INITIAL_CEL 25
#define TEMP_WINDOW_HALF_UCEL 500000

static const char *now_str(void)
{
	static char buf[16]; /* ...HH:MM:SS.MMM */
	uint32_t now = k_uptime_get_32();
	unsigned int ms = now % MSEC_PER_SEC;
	unsigned int s;
	unsigned int min;
	unsigned int h;

	now /= MSEC_PER_SEC;
	s = now % 60U;
	now /= 60U;
	min = now % 60U;
	now /= 60U;
	h = now;

	snprintf(buf, sizeof(buf), "%u:%02u:%02u.%03u",
		 h, min, s, ms);
	return buf;
}

#ifdef CONFIG_MCP9808_TRIGGER

static struct sensor_trigger trig;

static int set_window(const struct device *dev,
		      const struct sensor_value *temp)
{
	const int temp_ucel = temp->val1 * UCEL_PER_CEL + temp->val2;
	const int low_ucel = temp_ucel - TEMP_WINDOW_HALF_UCEL;
	const int high_ucel = temp_ucel + TEMP_WINDOW_HALF_UCEL;
	struct sensor_value val = {
		.val1 = low_ucel / UCEL_PER_CEL,
		.val2 = low_ucel % UCEL_PER_CEL,
	};
	int rc = sensor_attr_set(dev, SENSOR_CHAN_AMBIENT_TEMP,
				 SENSOR_ATTR_LOWER_THRESH, &val);
	if (rc == 0) {
		val.val1 = high_ucel / UCEL_PER_CEL,
		val.val2 = high_ucel % UCEL_PER_CEL,
		rc = sensor_attr_set(dev, SENSOR_CHAN_AMBIENT_TEMP,
				     SENSOR_ATTR_UPPER_THRESH, &val);
	}

	if (rc == 0) {
		printf("Alert on temp outside [%d, %d] milli-Celsius\n",
		       low_ucel / UCEL_PER_MCEL,
		       high_ucel / UCEL_PER_MCEL);
	}

	return rc;
}

static inline int set_window_ucel(const struct device *dev,
				  int temp_ucel)
{
	struct sensor_value val = {
		.val1 = temp_ucel / UCEL_PER_CEL,
		.val2 = temp_ucel % UCEL_PER_CEL,
	};

	return set_window(dev, &val);
}

static void trigger_handler(const struct device *dev,
			    const struct sensor_trigger *trig)
{
	struct sensor_value temp;
	static size_t cnt;
	int rc;

	++cnt;
	rc = sensor_sample_fetch(dev);
	if (rc != 0) {
		printf("sensor_sample_fetch error: %d\n", rc);
		return;
	}
	rc = sensor_channel_get(dev, SENSOR_CHAN_AMBIENT_TEMP, &temp);
	if (rc != 0) {
		printf("sensor_channel_get error: %d\n", rc);
		return;
	}

	printf("trigger fired %u, temp %g deg C\n", cnt,
	       sensor_value_to_double(&temp));
	set_window(dev, &temp);
}
#endif

#define MCP9808 DT_INST(0, mycompany_my_i2c_mcp9808)
#if DT_NODE_HAS_STATUS(MCP9808, okay)
#else
#error Your devicetree has no enabled nodes with compatible "mycompany,my_i2c_mcp9808"
#define MCP9808_LABEL "<none>"
#endif

#define STACKSIZE             (1024)
#define PRIORITY             (7)
K_THREAD_STACK_DEFINE(thread_mcp9808_stack_area, STACKSIZE);
static struct k_thread thread_mcp9808_data;
void thread_mcp9808(void *dummy1, void *dummy2, void *dummy3)
{
	const struct device *const dev = DEVICE_DT_GET(DT_NODELABEL(my_mcp9808));
	int rc;

	if (dev == NULL) {
		printf("Device not found.\n");
		return;
	}
	if (!device_is_ready(dev)) {
		printf("Device %s is not ready.\n", dev->name);
		return;
	}

#ifdef CONFIG_MCP9808_TRIGGER
	rc = set_window_ucel(dev, TEMP_INITIAL_CEL * UCEL_PER_CEL);
	if (rc == 0) {
		trig.type = SENSOR_TRIG_THRESHOLD;
		trig.chan = SENSOR_CHAN_AMBIENT_TEMP;
		rc = sensor_trigger_set(dev, &trig, trigger_handler);
	}

	if (rc != 0) {
		printf("Trigger set failed: %d\n", rc);
		return;
	}
	printk("Trigger set got %d\n", rc);
#endif

	while (1) {
		struct sensor_value temp;

		rc = sensor_sample_fetch(dev);
		if (rc != 0) {
			printf("sensor_sample_fetch error: %d\n", rc);
			break;
		}

		rc = sensor_channel_get(dev, SENSOR_CHAN_AMBIENT_TEMP, &temp);
		if (rc != 0) {
			printf("sensor_channel_get error: %d\n", rc);
			break;
		}

		printf("%s: %g C\n", now_str(),
		       sensor_value_to_double(&temp));

		k_sleep(K_SECONDS(2));
	}
}

void main_mcp9808(void)
{
    k_thread_create(&thread_mcp9808_data, thread_mcp9808_stack_area,
            K_THREAD_STACK_SIZEOF(thread_mcp9808_stack_area),
            thread_mcp9808, NULL, NULL, NULL,
            PRIORITY, 0, K_FOREVER);
	k_thread_start(&thread_mcp9808_data);
}
```

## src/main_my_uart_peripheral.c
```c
/*
 * Copyright (c) 2022 Libre Solar Technologies GmbH
 *
 * SPDX-License-Identifier: Apache-2.0
 */

#include <zephyr/kernel.h>
#include <zephyr/device.h>
#include <zephyr/drivers/uart.h>

#include "../drivers/my_uart_peripheral/api.h"

struct counter
{
    int strings;
    int overflows;
};

static struct counter tracker = {0};

void peripheral_callback(const struct device *dev, char *data, size_t length, bool is_string, void *user_data)
{
    struct counter *c = (struct counter *)user_data;
    if (is_string)
    {
        printk("Recieved string \"%s\"\n", data);
        c->strings++;
    } else {
        printk("Buffer full. Recieved fragment %.*s\n", length, data);
        c->overflows++;
    }
    printk("Strings: %d\nOverflows: %d\n", c->strings, c->overflows);
}

void main_my_uart_peripheral(void)
{
    const struct device *dev2 = device_get_binding(DT_PROP(DT_NODELABEL(my_device),label));
	if (!device_is_ready(dev2)) {
		printk("DEV2 device not found!");
		return;
	}
    my_uart_set_callback(dev2, peripheral_callback, &tracker);
}
```

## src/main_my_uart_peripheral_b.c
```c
#include <zephyr/kernel.h>
#include <zephyr/device.h>
#include <zephyr/drivers/uart.h>

#include "../drivers/my_uart_peripheral_b/my_uart_peripheral_b_api.h"

static const struct device *const dev = DEVICE_DT_GET(DT_NODELABEL(my_device_b));

void app_send_data(char *data, size_t length)
{
    my_uart_send_data(dev, data, length);
}

void app_callback(const struct device *dev, char *data, size_t length)
{
    printk("my_uart_peripheral_b, app_callback, length=%d\n", length);
	app_send_data(data, length);
}

void main_my_uart_peripheral_b(void)
{
	if (!device_is_ready(dev)) {
		printk("DEV device not found!");
		return;
	}
    my_uart_set_callback(dev, app_callback);
}
```

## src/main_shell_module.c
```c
/*
 * Copyright (c) 2015 Intel Corporation
 *
 * SPDX-License-Identifier: Apache-2.0
 */

#include <zephyr/kernel.h>
#include <zephyr/shell/shell.h>
#include <version.h>
#include <zephyr/logging/log.h>
#include <stdlib.h>
#include <zephyr/drivers/uart.h>
#include <zephyr/usb/usb_device.h>
#include <ctype.h>

#ifdef CONFIG_ARCH_POSIX
#include <unistd.h>
#else
#include <zephyr/posix/unistd.h>
#endif

LOG_MODULE_REGISTER(app);

static int cmd_demo_ping(const struct shell *shell, size_t argc, char **argv)
{
	ARG_UNUSED(argc);
	ARG_UNUSED(argv);

	shell_print(shell, "pong");

	return 0;
}

static int cmd_demo_board(const struct shell *sh, size_t argc, char **argv)
{
	ARG_UNUSED(argc);
	ARG_UNUSED(argv);

	shell_print(sh, CONFIG_BOARD);

	return 0;
}

static int cmd_demo_params(const struct shell *shell, size_t argc, char **argv)
{
	shell_print(shell, "argc = %zd", argc);
	for (size_t cnt = 0; cnt < argc; cnt++) {
		shell_print(shell, "  argv[%zd] = %s", cnt, argv[cnt]);
	}

	return 0;
}

static int cmd_demo_hexdump(const struct shell *shell, size_t argc, char **argv)
{
	shell_print(shell, "argc = %zd", argc);
	for (size_t cnt = 0; cnt < argc; cnt++) {
		shell_print(shell, "argv[%zd]", cnt);
		shell_hexdump(shell, argv[cnt], strlen(argv[cnt]));
	}

	return 0;
}

static int cmd_version(const struct shell *shell, size_t argc, char **argv)
{
	ARG_UNUSED(argc);
	ARG_UNUSED(argv);

	shell_print(shell, "Zephyr version %s", KERNEL_VERSION_STRING);

	return 0;
}

static int cmd_dict(const struct shell *shell, size_t argc, char **argv,
		    void *data)
{
	int val = (intptr_t)data;

	shell_print(shell, "(syntax, value) : (%s, %d)", argv[0], val);

	return 0;
}

SHELL_SUBCMD_DICT_SET_CREATE(sub_dict_cmds, cmd_dict,
	(value_0, 0, "value 0"), (value_1, 1, "value 1"),
	(value_2, 2, "value 2"), (value_3, 3, "value 3")
);

SHELL_STATIC_SUBCMD_SET_CREATE(sub_demo,
	SHELL_CMD(dictionary, &sub_dict_cmds, "Dictionary commands", NULL),
	SHELL_CMD(hexdump, NULL, "Hexdump params command.", cmd_demo_hexdump),
	SHELL_CMD(params, NULL, "Print params command.", cmd_demo_params),
	SHELL_CMD(ping, NULL, "Ping command.", cmd_demo_ping),
	SHELL_CMD(board, NULL, "Show board name command.", cmd_demo_board),
	SHELL_SUBCMD_SET_END /* Array terminated. */
);
SHELL_CMD_REGISTER(demo, &sub_demo, "Demo commands", NULL);

SHELL_CMD_ARG_REGISTER(version, NULL, "Show kernel version", cmd_version, 1, 0);

/* Create a set of commands. Commands to this set are added using @ref SHELL_SUBCMD_ADD
 * and @ref SHELL_SUBCMD_COND_ADD.
 */
SHELL_SUBCMD_SET_CREATE(sub_section_cmd, (section_cmd));

static int cmd1_handler(const struct shell *sh, size_t argc, char **argv)
{
	ARG_UNUSED(sh);
	ARG_UNUSED(argc);
	ARG_UNUSED(argv);

	shell_print(sh, "cmd1 executed");

	return 0;
}

/* Create a set of subcommands for "section_cmd cm1". */
SHELL_SUBCMD_SET_CREATE(sub_section_cmd1, (section_cmd, cmd1));

/* Add command to the set. Subcommand set is identify by parent shell command. */
SHELL_SUBCMD_ADD((section_cmd), cmd1, &sub_section_cmd1, "help for cmd1", cmd1_handler, 1, 0);

SHELL_CMD_REGISTER(section_cmd, &sub_section_cmd,
		   "Demo command using section for subcommand registration", NULL);

#define STACKSIZE             (1024)
#define PRIORITY             (7)
K_THREAD_STACK_DEFINE(thread_shell_module_stack_area, STACKSIZE);
static struct k_thread thread_shell_module_data;
void thread_shell_module(void *dummy1, void *dummy2, void *dummy3)
{
	printk("start !");
	if (IS_ENABLED(CONFIG_SHELL_START_OBSCURED)) {
		login_init();
	}

#if DT_NODE_HAS_COMPAT(DT_CHOSEN(zephyr_shell_uart), zephyr_cdc_acm_uart)
	const struct device *dev;
	uint32_t dtr = 0;

	dev = DEVICE_DT_GET(DT_CHOSEN(zephyr_shell_uart));
	if (!device_is_ready(dev) || usb_enable(NULL)) {
		return;
	}

	while (!dtr) {
		uart_line_ctrl_get(dev, UART_LINE_CTRL_DTR, &dtr);
		k_sleep(K_MSEC(100));
	}
#endif
}

void main_shell_module(void)
{
    k_thread_create(&thread_shell_module_data, thread_shell_module_stack_area,
            K_THREAD_STACK_SIZEOF(thread_shell_module_stack_area),
            thread_shell_module, NULL, NULL, NULL,
            PRIORITY, 0, K_FOREVER);
	k_thread_start(&thread_shell_module_data);
}
```

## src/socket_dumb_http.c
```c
/*
 * Copyright (c) 2017 Linaro Limited
 *
 * SPDX-License-Identifier: Apache-2.0
 */

#include <stdio.h>
#include <stdlib.h>
#include <errno.h>

#if !defined(__ZEPHYR__) || defined(CONFIG_POSIX_API)

#include <netinet/in.h>
#include <sys/socket.h>
#include <arpa/inet.h>
#include <unistd.h>

#else

#include <zephyr/net/socket.h>
#include <zephyr/kernel.h>

#include <zephyr/net/net_pkt.h>

#endif

#define BIND_PORT 8080

#ifndef USE_BIG_PAYLOAD
#define USE_BIG_PAYLOAD 1
#endif

#define CHECK(r) { if (r == -1) { printf("Error: " #r "\n"); exit(1); } }

static const char content[] = {
#if USE_BIG_PAYLOAD
    #include "response_big.html.bin.inc"
#else
    #include "response_small.html.bin.inc"
#endif
};

#define STACKSIZE             (2048)
#define PRIORITY             (7)
K_THREAD_STACK_DEFINE(thread_socket_dumb_http_stack_area, STACKSIZE);
static struct k_thread thread_socket_dumb_http_data;
void thread_socket_dumb_http(void *dummy1, void *dummy2, void *dummy3)
{
	int serv;
	struct sockaddr_in bind_addr;
	static int counter;
	int ret;

	serv = socket(AF_INET, SOCK_STREAM, IPPROTO_TCP);
	CHECK(serv);

	bind_addr.sin_family = AF_INET;
	bind_addr.sin_addr.s_addr = htonl(INADDR_ANY);
	bind_addr.sin_port = htons(BIND_PORT);
	CHECK(bind(serv, (struct sockaddr *)&bind_addr, sizeof(bind_addr)));

	CHECK(listen(serv, 5));

	printf("Single-threaded dumb HTTP server waits for a connection on "
	       "port %d...\n", BIND_PORT);

	while (1) {
		struct sockaddr_in client_addr;
		socklen_t client_addr_len = sizeof(client_addr);
		char addr_str[32];
		int req_state = 0;
		const char *data;
		size_t len;

		int client = accept(serv, (struct sockaddr *)&client_addr,
				    &client_addr_len);
		if (client < 0) {
			printf("Error in accept: %d - continuing\n", errno);
			continue;
		}

		inet_ntop(client_addr.sin_family, &client_addr.sin_addr,
			  addr_str, sizeof(addr_str));
		printf("Connection #%d from %s\n", counter++, addr_str);

		/* Discard HTTP request (or otherwise client will get
		 * connection reset error).
		 */
		while (1) {
			ssize_t r;
			char c;

			r = recv(client, &c, 1, 0);
			if (r == 0) {
				goto close_client;
			}

			if (r < 0) {
				if (errno == EAGAIN || errno == EINTR) {
					continue;
				}

				printf("Got error %d when receiving from "
				       "socket\n", errno);
				goto close_client;
			}
			if (req_state == 0 && c == '\r') {
				req_state++;
			} else if (req_state == 1 && c == '\n') {
				req_state++;
			} else if (req_state == 2 && c == '\r') {
				req_state++;
			} else if (req_state == 3 && c == '\n') {
				break;
			} else {
				req_state = 0;
			}
		}

		data = content;
		len = sizeof(content);
		while (len) {
			int sent_len = send(client, data, len, 0);

			if (sent_len == -1) {
				printf("Error sending data to peer, errno: %d\n", errno);
				break;
			}
			data += sent_len;
			len -= sent_len;
		}

close_client:
		ret = close(client);
		if (ret == 0) {
			printf("Connection from %s closed\n", addr_str);
		} else {
			printf("Got error %d while closing the "
			       "socket\n", errno);
		}

#if defined(__ZEPHYR__) && defined(CONFIG_NET_BUF_POOL_USAGE)
		struct k_mem_slab *rx, *tx;
		struct net_buf_pool *rx_data, *tx_data;

		net_pkt_get_info(&rx, &tx, &rx_data, &tx_data);
		printf("rx buf: %d, tx buf: %d\n",
		       atomic_get(&rx_data->avail_count), atomic_get(&tx_data->avail_count));
#endif

	}
}

void main_socket_dumb_http(void)
{
    k_thread_create(&thread_socket_dumb_http_data, thread_socket_dumb_http_stack_area,
            K_THREAD_STACK_SIZEOF(thread_socket_dumb_http_stack_area),
            thread_socket_dumb_http, NULL, NULL, NULL,
            PRIORITY, 0, K_FOREVER);
	k_thread_start(&thread_socket_dumb_http_data);
}
```
